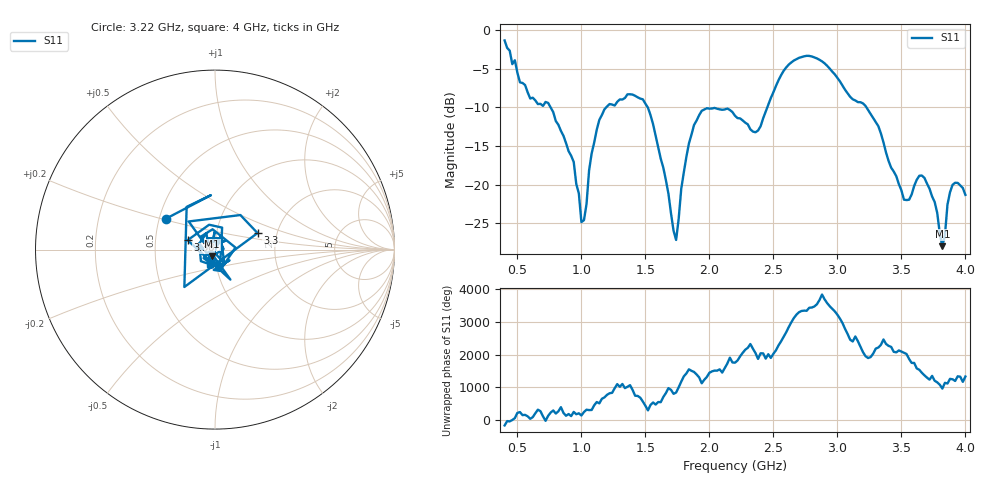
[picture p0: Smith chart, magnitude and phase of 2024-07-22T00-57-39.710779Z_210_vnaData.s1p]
!Created with skrf (http://scikit-rf.org).
# Hz S RI R 50.0
!freq ReS11 ImS11
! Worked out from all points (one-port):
!   181 points, 400 MHz to 4 GHz, reference 50 ohm
!   lowest |S11| = -28.0 dB at 3.82 GHz (marker M1), VSWR 1.08, Z = 48.3 - j3.54 ohm
!   |S11| at or under -10 dB: 759.7 MHz to 1.194 GHz (433.8 MHz wide, 44.4 % of centre); 1.518 GHz to 2.452 GHz (933.7 MHz wide, 47 % of centre); 3.227 GHz to end of sweep
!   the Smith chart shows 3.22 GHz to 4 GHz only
!   S11 on the Smith chart (normalised r, x): 3.22 GHz: 0.54, +0.21; 3.3 GHz: 1.58, +0.31; 3.38 GHz: 0.73, +0.08; 4 GHz: 0.94, -0.15
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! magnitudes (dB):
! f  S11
! 400 MHz  -1.3
! 520 MHz  -6.8
! 740 MHz  -9.4
! 860 MHz  -13.7
! 940 MHz  -17.1
! 1 GHz  -24.8
! 1.14 GHz  -11.6
! 1.3 GHz  -9.0
! 1.52 GHz  -10.0
! 1.72 GHz  -26.0
! 1.74 GHz  -27.2
! 1.76 GHz  -24.4
! 1.84 GHz  -14.7
! 1.92 GHz  -11.0
! 2.2 GHz  -11.1
! 2.38 GHz  -13.0
! 2.66 GHz  -3.9
! 2.88 GHz  -4.0
! 3.1 GHz  -8.6
! 3.22 GHz  -9.8
! 3.3 GHz  -11.9
! 3.38 GHz  -15.8
! 3.56 GHz  -21.9
! 3.68 GHz  -19.1
! 3.76 GHz  -22.2
! 3.82 GHz  -28.0
! 3.9 GHz  -20.0
! 4 GHz  -21.3
